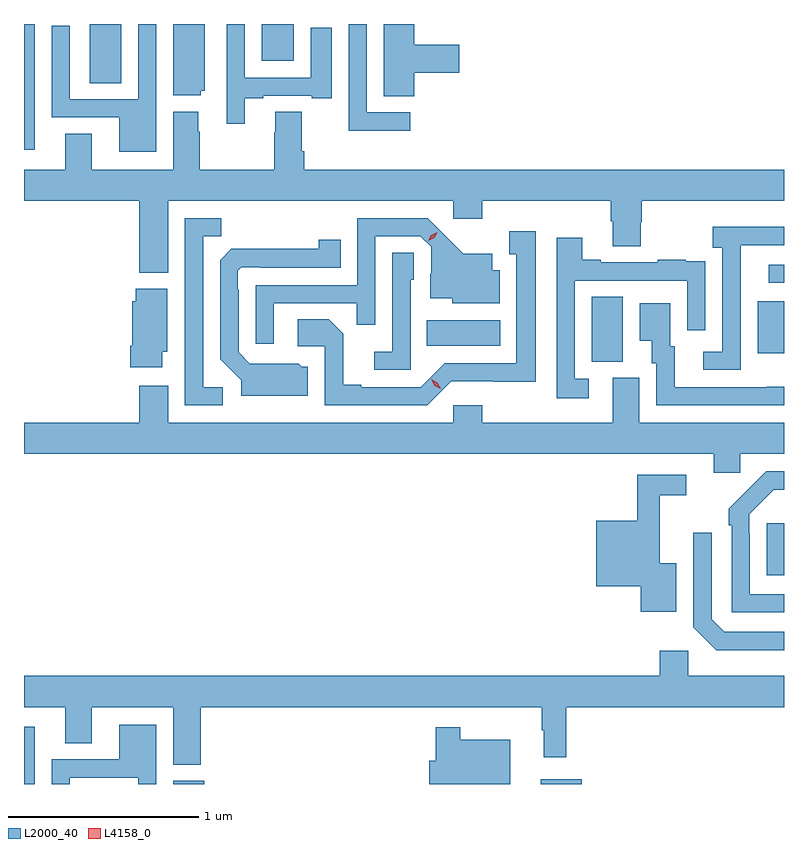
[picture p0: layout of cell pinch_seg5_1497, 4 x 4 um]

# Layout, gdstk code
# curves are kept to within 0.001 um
import gdstk
lib = gdstk.Library(unit=1e-6, precision=1e-09)
def R(c, l, rs):  # rectangles x0, y0, x1, y1
    for r in rs: c.add(gdstk.rectangle(r[:2], r[2:], *l))
def P(c, l, *ps):  # polygons
    for p in ps: c.add(gdstk.Polygon(p, *l))
L2000_40 = (2000, 40)
L4158_0 = (4158, 0)

pinch_seg5_1497 = lib.new_cell('pinch_seg5_1497')
R(pinch_seg5_1497, L2000_40, [(298.196,857.687,298.252,857.989), (298.982,857.687,299.144,857.703), (300.917,857.687,301.132,857.713), (302.105,858.785,302.196,859.06), (301.184,859.909,301.348,860.252), (302.057,859.953,302.196,860.227), (300.316,859.994,300.703,860.128), (302.115,860.325,302.196,860.421), (298.196,861.024,298.252,861.687), (298.541,861.376,298.708,861.687), (299.447,861.494,299.617,861.687)])
P(pinch_seg5_1497, L2000_40, [(300.229,861.222),(300,861.222),(300,861.687),(299.904,861.687),(299.904,861.125),(300.229,861.125)],
  [(299.127,861.336),(299.146,861.336),(299.146,861.687),(298.982,861.687),(298.982,861.311),(299.127,861.311)],
  [(298.893,861.687),(298.797,861.687),(298.797,861.291),(298.437,861.291),(298.437,861.679),(298.341,861.679),(298.341,861.195),(298.697,861.195),(298.697,861.014),(298.893,861.014)],
  [(299.359,861.297),(299.455,861.297),(299.455,861.309),(299.711,861.309),(299.711,861.297),(299.815,861.297),(299.815,861.667),(299.705,861.667),(299.705,861.405),(299.358,861.405),(299.358,861.687),(299.262,861.687),(299.262,861.162),(299.359,861.162)],
  [(300.251,861.431),(300.487,861.431),(300.487,861.578),(300.251,861.578),(300.251,861.687),(300.089,861.687),(300.089,861.307),(300.251,861.307)],
  [(298.802,860.378),(298.954,860.378),(298.954,860.756),(300.456,860.756),(300.456,860.661),(300.608,860.661),(300.608,860.756),(301.283,860.756),(301.283,860.65),(301.295,860.65),(301.295,860.518),(301.443,860.518),(301.443,860.643),(301.448,860.643),(301.448,860.756),(302.196,860.756),(302.196,860.92),(299.672,860.92),(299.672,861.016),(299.659,861.016),(299.659,861.224),(299.519,861.224),(299.519,861.116),(299.512,861.116),(299.512,860.92),(299.121,860.92),(299.121,861.119),(299.113,861.119),(299.113,861.226),(298.982,861.226),(298.982,860.92),(298.552,860.92),(298.552,861.11),(298.412,861.11),(298.412,860.92),(298.196,860.92),(298.196,860.756),(298.802,860.756)],
  [(299.511,860.217),(299.947,860.217),(299.947,860.104),(300.045,860.104),(300.045,860.571),(300.282,860.571),(300.339,860.514),(300.339,860.372),(300.335,860.372),(300.335,860.243),(300.45,860.243),(300.45,860.216),(300.7,860.216),(300.7,860.392),(300.661,860.392),(300.661,860.479),(300.509,860.479),(300.322,860.664),(299.949,860.664),(299.949,860.313),(299.415,860.313),(299.415,860.004),(299.511,860.004)],
  [(299.242,859.776),(299.139,859.776),(299.139,860.569),(299.235,860.569),(299.235,860.664),(299.043,860.664),(299.043,859.68),(299.242,859.68)],
  [(301.968,860.323),(301.969,860.323),(301.969,860.523),(302.196,860.523),(302.196,860.62),(301.821,860.62),(301.821,860.51),(301.872,860.51),(301.872,859.962),(301.77,859.962),(301.77,859.866),(301.968,859.866)],
  [(300.444,859.806),(300.889,859.805),(300.889,860.596),(300.749,860.596),(300.749,860.475),(300.788,860.475),(300.788,859.902),(300.411,859.902),(300.285,859.776),(299.971,859.776),(299.971,859.789),(299.877,859.789),(299.877,860.056),(299.801,860.132),(299.637,860.132),(299.637,859.992),(299.778,859.992),(299.778,859.68),(300.318,859.68)],
  [(301.168,859.821),(301.095,859.821),(301.095,860.337),(301.686,860.337),(301.686,860.076),(301.782,860.076),(301.782,860.33),(301.781,860.33),(301.781,860.439),(301.679,860.439),(301.679,860.446),(301.531,860.446),(301.531,860.433),(301.231,860.433),(301.231,860.446),(301.135,860.446),(301.135,860.563),(300.999,860.563),(300.999,859.716),(301.168,859.716)],
  [(299.689,859.884),(299.658,859.884),(299.642,859.9),(299.385,859.899),(299.325,859.959),(299.325,860.288),(299.322,860.288),(299.322,860.388),(299.34,860.406),(299.44,860.406),(299.44,860.403),(299.864,860.403),(299.864,860.551),(299.746,860.551),(299.746,860.504),(299.288,860.503),(299.229,860.444),(299.229,859.922),(299.339,859.812),(299.339,859.73),(299.689,859.73)],
  [(300.231,860.34),(300.246,860.34),(300.246,860.483),(300.135,860.483),(300.135,859.963),(300.039,859.963),(300.039,859.866),(300.231,859.866)],
  [(298.924,859.962),(298.951,859.962),(298.951,860.293),(298.784,860.293),(298.784,860.229),(298.766,860.229),(298.766,859.993),(298.754,859.993),(298.754,859.881),(298.924,859.881)],
  [(302.196,859.777),(302.105,859.777),(302.105,859.776),(301.621,859.776),(301.621,859.992),(301.597,859.992),(301.597,860.218),(301.436,860.218),(301.436,860.021),(301.499,860.021),(301.499,859.902),(301.524,859.902),(301.524,859.68),(302.196,859.68)],
  [(301.965,859.424),(302.196,859.424),(302.196,859.588),(301.435,859.588),(301.435,859.824),(301.295,859.824),(301.295,859.588),(300.608,859.588),(300.608,859.681),(300.456,859.681),(300.456,859.588),(298.954,859.588),(298.954,859.783),(298.802,859.783),(298.802,859.588),(298.196,859.588),(298.196,859.424),(301.826,859.424),(301.826,859.326),(301.965,859.326)],
  [(302.196,858.687),(302.016,858.687),(302.016,859.007),(302.013,859.007),(302.013,859.107),(302.142,859.236),(302.196,859.236),(302.196,859.332),(302.102,859.332),(301.905,859.137),(301.905,859.049),(301.92,859.049),(301.92,858.591),(302.196,858.591)],
  [(301.63,858.85),(301.541,858.85),(301.541,859.206),(301.681,859.206),(301.681,859.314),(301.423,859.314),(301.423,859.072),(301.208,859.072),(301.208,858.728),(301.442,858.728),(301.442,858.593),(301.63,858.593)],
  [(302.196,858.489),(301.881,858.489),(301.815,858.555),(301.815,859.009),(301.719,859.009),(301.719,858.513),(301.84,858.392),(302.196,858.392)],
  [(299.126,858.092),(300.921,858.092),(300.921,857.969),(300.932,857.969),(300.932,857.829),(301.049,857.829),(301.049,858.092),(302.196,858.092),(302.196,858.256),(301.692,858.256),(301.692,858.388),(301.541,858.388),(301.541,858.256),(298.196,858.256),(298.196,858.092),(298.412,858.092),(298.412,857.902),(298.552,857.902),(298.552,858.092),(298.982,858.092),(298.982,857.788),(299.126,857.788)],
  [(298.437,857.721),(298.797,857.721),(298.797,857.687),(298.893,857.687),(298.893,857.998),(298.697,857.998),(298.697,857.817),(298.341,857.817),(298.341,857.687),(298.437,857.687)],
  [(300.754,857.92),(300.493,857.92),(300.493,857.986),(300.364,857.986),(300.364,857.809),(300.33,857.809),(300.33,857.687),(300.754,857.687)])
P(pinch_seg5_1497, L4158_0, [(300.389,859.766),(300.358,859.784),(300.339,859.817),(300.339,859.817),(300.34,859.817),(300.372,859.799),(300.39,859.766),(300.39,859.766)],
  [(300.323,860.546),(300.323,860.546),(300.34,860.576),(300.371,860.592),(300.371,860.592),(300.371,860.592),(300.354,860.562),(300.324,860.546)])

lib.write_gds('pinch_seg5_1497.gds')
